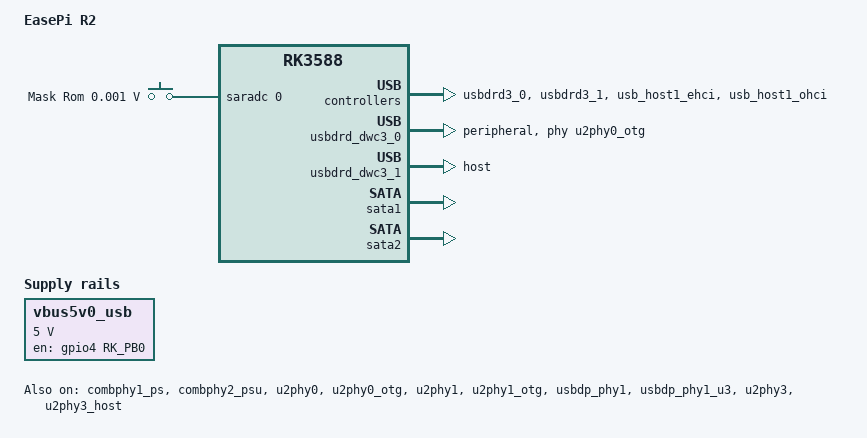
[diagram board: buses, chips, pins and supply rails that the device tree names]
// SPDX-License-Identifier: (GPL-2.0+ OR MIT)
/*
 * Copyright (c) 2021 Rockchip Electronics Co., Ltd
 *
 */

/dts-v1/;
#include "rk3588.dtsi"
#include "rk3588-u-boot.dtsi"
#include <dt-bindings/input/input.h>

/ {
	model = "EasePi R2";
	compatible = "linkease,easepi-r2", "easepi,r2", "rockchip,rk3588";

	adc-keys {
		compatible = "adc-keys";
		io-channels = <&saradc 0>;
		io-channel-names = "buttons";
		keyup-threshold-microvolt = <1750000>;
		poll-interval = <100>;
		u-boot,dm-spl;

		button-maskrom {
			label = "Mask Rom";
			linux,code = <KEY_RESTART>;
			press-threshold-microvolt = <878>;
			u-boot,dm-spl;
		};
	};

	vbus5v0_usb: vbus5v0-usb {
		u-boot,dm-pre-reloc;
		compatible = "regulator-fixed";
		enable-active-high;
		gpio = <&gpio4 RK_PB0 GPIO_ACTIVE_HIGH>;
		pinctrl-names = "default";
		pinctrl-0 = <&vbus5v0_usb_en>;
		regulator-min-microvolt = <5000000>;
		regulator-max-microvolt = <5000000>;
		regulator-name = "vbus5v0_usb";
	};
};

// sata1
&combphy1_ps {
	u-boot,dm-pre-reloc;
	status = "okay";
};

// sata2
&combphy2_psu {
	u-boot,dm-pre-reloc;
	status = "okay";
};

&pinctrl {
	usb {
		u-boot,dm-pre-reloc;
		vbus5v0_usb_en: vbus5v0_usb_en {
			u-boot,dm-pre-reloc;
			rockchip,pins = <4 RK_PB0 RK_FUNC_GPIO &pcfg_pull_none>;
		};
	};
};

// Type-C for firmware update
&u2phy0 {
	u-boot,dm-pre-reloc;
	status = "okay";
};

&u2phy0_otg {
	u-boot,dm-pre-reloc;
	rockchip,typec-vbus-det;
	status = "okay";
};

&usbdrd3_0 {
	u-boot,dm-pre-reloc;
	status = "okay";
};

&usbdrd_dwc3_0 {
	u-boot,dm-pre-reloc;
	dr_mode = "peripheral";
	extcon = <&u2phy0>;
	maximum-speed = "high-speed";
	phys = <&u2phy0_otg>;
	phy-names = "usb2-phy";
	status = "okay";
};

// USB 3.0
&u2phy1 {
	u-boot,dm-pre-reloc;
	status = "okay";
};

&u2phy1_otg {
	u-boot,dm-pre-reloc;
	phy-supply = <&vbus5v0_usb>;
	status = "okay";
};

&usbdp_phy1 {
	u-boot,dm-pre-reloc;
	rockchip,dp-lane-mux = <0 1>;
	status = "okay";
};

&usbdp_phy1_u3 {
	u-boot,dm-pre-reloc;
	status = "okay";
};

&usbdrd3_1 {
	u-boot,dm-pre-reloc;
	status = "okay";
};

&usbdrd_dwc3_1 {
	u-boot,dm-pre-reloc;
	dr_mode = "host";
	status = "okay";
};

// USB 2.0
&u2phy3 {
	u-boot,dm-pre-reloc;
	status = "okay";
};

&u2phy3_host {
	u-boot,dm-pre-reloc;
	phy-supply = <&vbus5v0_usb>;
	status = "okay";
};

&usb_host1_ehci {
	u-boot,dm-pre-reloc;
	status = "okay";
};

&usb_host1_ohci {
	u-boot,dm-pre-reloc;
	status = "okay";
};


&sata1 {
	u-boot,dm-pre-reloc;
	status = "okay";
};

&sata2 {
	u-boot,dm-pre-reloc;
	status = "okay";
};
